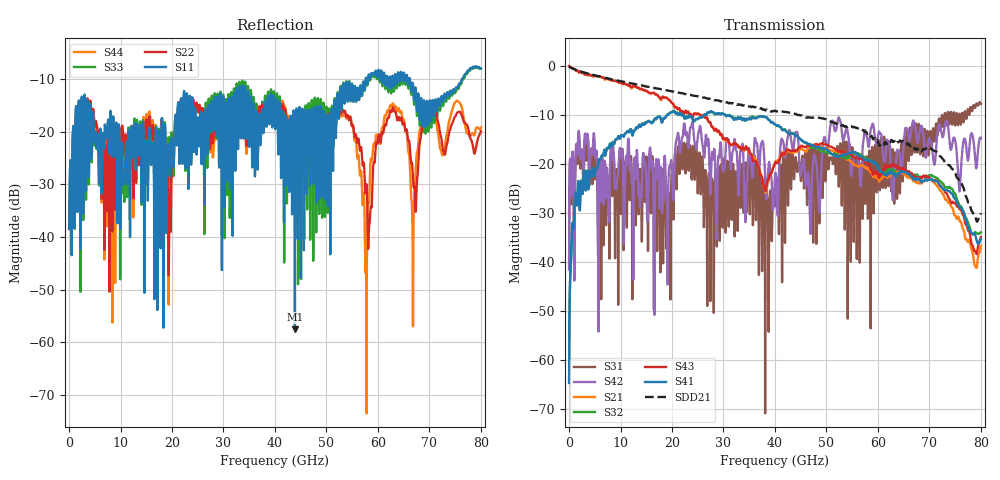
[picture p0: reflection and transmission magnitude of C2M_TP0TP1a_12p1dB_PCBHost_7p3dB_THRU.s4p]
!! Reference: shanbhag_3dj_03_2305.pdf
!! CHANNEL DESCRIPTION: TP0_TP1a C2M Channel, PCB Host
!! MODEL DESCRIPTION: s4p, THRU
!! CONNECTOR DESCRIPTION: OSFP 200G SMT
!! MODEL STATUS: Developmental
!! PORT DEFINITIONS:
!! Port  1  ----->  Side A  Side B  <-----  Port  2
!! Port  3  ----->  Side A  Side B  <-----  Port  4
# HZ S MA R 50.000000
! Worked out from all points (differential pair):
!   8000 points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, 10 MHz to 80 GHz, reference 50 ohm
!   strongest paths, dB at 10 MHz, 20.01 GHz, 40.01 GHz, 60.01 GHz, 80 GHz:
!     S41: -64.7, -9.5, -11.9, -20.7, -35.4
!     S43: -0.1, -7.6, -19.9, -22.3, -35.0
!     S32: -64.7, -9.5, -11.9, -20.6, -34.0
!     S21: -0.1, -7.6, -19.7, -22.9, -36.7
!     S42: -41.5, -21.4, -22.3, -14.5, -14.9
!     S31: -41.5, -20.8, -28.2, -15.4, -7.8
!   taken as a pair (ports 3,1 in; 4,2 out), SDD21 dB: -0.1, -5.2, -9.2, -15.6, -30.1
!   lowest |S11| = -57.5 dB at 43.87 GHz (marker M1), VSWR 1.00, Z = 49.9 + j0.079 ohm
!   |S11| at or under -10 dB: start of sweep to 57.63 GHz; 61.83 GHz to 62.19 GHz (358.7 MHz wide, 0.578 % of centre); 66.22 GHz to 76.31 GHz (10.09 GHz wide, 14.2 % of centre) (the widest 3 of 14)
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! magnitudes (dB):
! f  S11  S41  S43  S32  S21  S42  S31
! 10 MHz  -38.5  -64.7  -0.1  -64.7  -0.1  -41.5  -41.5
! 1.51 GHz  -17.7  -28.2  -1.1  -28.1  -1.1  -16.8  -18.1
! 9.3 GHz  -20.5  -15.0  -3.2  -15.0  -3.3  -23.5  -21.3
! 43.87 GHz  -57.5  -14.1  -17.3  -14.0  -17.6  -14.2  -19.7
! 57.71 GHz  -9.8  -19.2  -19.5  -18.8  -20.6  -14.0  -19.7
! 62.62 GHz  -11.4  -21.6  -20.1  -21.1  -21.6  -22.8  -25.6
! 80 GHz  -8.0  -35.4  -35.0  -34.0  -36.7  -14.9  -7.8
